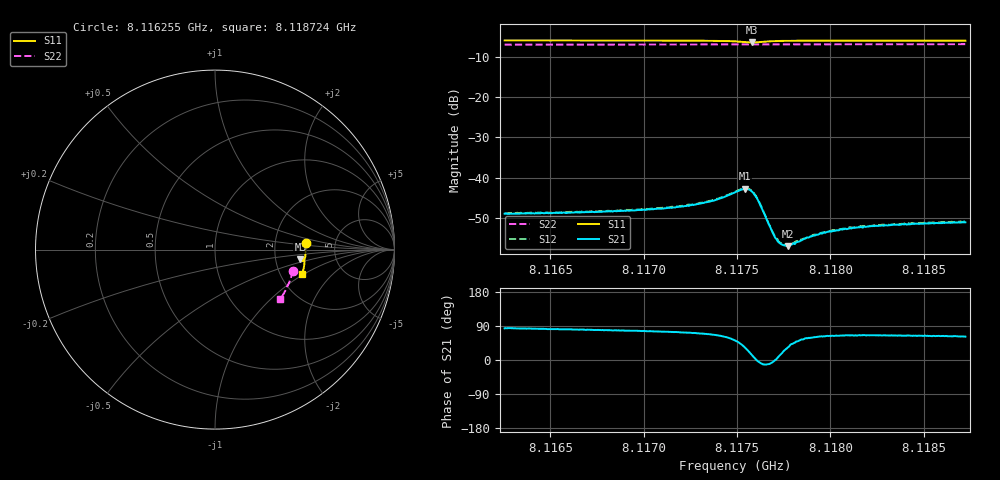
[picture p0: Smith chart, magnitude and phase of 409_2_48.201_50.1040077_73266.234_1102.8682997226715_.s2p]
#  HZ  S  RI  R  50.00
! Rohde & Schwarz Vector Network Analyzer
! Rohde-Schwarz,ZNB20-2Port,1311601062101988,3.16
! Created: UTC 3/20/2024, 11:54:21 AM
! freq[Hz]  re:S11  im:S11  re:S21  im:S21  re:S12  im:S12  re:S22  im:S22
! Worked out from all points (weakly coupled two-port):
!   401 points, 8.116255 GHz to 8.118724 GHz, reference 50 ohm
!   highest |S21| = -42.81 dB at 8.117545 GHz (marker M1); lowest = -57.1 dB at 8.117773 GHz (marker M2)
!   lowest |S11| = -6.4 dB at 8.117582 GHz (marker M3), VSWR 2.84, Z = 139 - j19.1 ohm
!   |S11| at or under -10 dB: nowhere
!   |S22| runs from -6.9 to -6.8 dB; largest |S21 - S12| = 0.00019
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8.1162549e9  0.5056 0.0393  0.000404 0.00353  0.000425 0.00357  0.4336 -0.1185
8.1166684e9  0.5065 0.00805  0.000624 0.00365  0.000682 0.00374  0.4262 -0.1462
8.117082e9  0.505 -0.0242  0.00107 0.00395  0.00111 0.00399  0.4169 -0.1735
8.1172301e9  0.5034 -0.0366  0.00137 0.00422  0.00139 0.00431  0.4131 -0.1831
8.1173289e9  0.5015 -0.0456  0.00178 0.00458  0.00183 0.00464  0.4106 -0.1898
8.1173844e9  0.4994 -0.0512  0.00213 0.00479  0.00226 0.00488  0.409 -0.1931
8.1174893e9  0.4904 -0.0619  0.00406 0.00513  0.00417 0.00522  0.4056 -0.1999
8.1175449e9  0.4796 -0.0612  0.00615 0.00382  0.00629 0.00382  0.4036 -0.2033
8.1175634e9  0.4766 -0.0578  0.00658 0.00269  0.00673 0.0027  0.403 -0.2042
8.1175819e9  0.4758 -0.053  0.0065 0.00137  0.00667 0.00133  0.4026 -0.205
8.1176004e9  0.4781 -0.0485  0.00582 0.000188  0.00595 0.000146  0.4022 -0.2061
8.1176189e9  0.4819 -0.046  0.00484 -0.000481  0.00496 -0.000519  0.4019 -0.2071
8.1176807e9  0.4933 -0.0494  0.00231 -0.000355  0.00236 -0.000375  0.4006 -0.211
8.1177115e9  0.496 -0.0533  0.00171 7.55e-05  0.00175 6.25e-05  0.3997 -0.2131
8.1177362e9  0.4972 -0.0564  0.00143 0.000407  0.00148 0.000394  0.399 -0.2148
8.1177609e9  0.498 -0.0594  0.00125 0.000679  0.00131 0.00072  0.3983 -0.2163
8.1177733e9  0.4983 -0.0608  0.00117 0.000772  0.00119 0.000782  0.3979 -0.2171
8.1179029e9  0.4987 -0.0739  0.000959 0.0016  0.000961 0.00165  0.3939 -0.2253
8.1179769e9  0.4981 -0.0804  0.000941 0.00185  0.000995 0.00187  0.3915 -0.2301
8.1181066e9  0.4966 -0.0909  0.000994 0.00212  0.00103 0.00219  0.3871 -0.238
8.1183164e9  0.4933 -0.1072  0.00109 0.00231  0.00109 0.00233  0.3796 -0.2507
8.1187238e9  0.4856 -0.1371  0.00131 0.00244  0.00133 0.00248  0.3643 -0.2748
